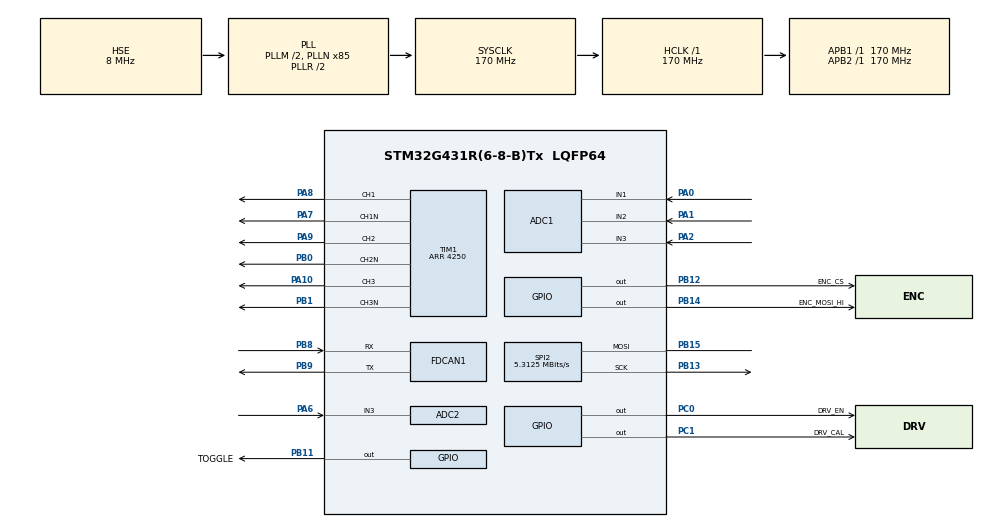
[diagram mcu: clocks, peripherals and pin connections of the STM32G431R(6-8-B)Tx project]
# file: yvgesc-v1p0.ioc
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ADC1.Channel-0\#ChannelRegularConversion=ADC_CHANNEL_VREFINT
ADC1.ClockPrescaler=ADC_CLOCK_SYNC_PCLK_DIV4
ADC1.EOCSelection=ADC_EOC_SEQ_CONV
ADC1.EnableInjectedConversion=ENABLE
ADC1.InjNumberOfConversion=4
ADC1.InjectedChannel-10\#ChannelInjectedConversion=ADC_CHANNEL_3
ADC1.InjectedChannel-11\#ChannelInjectedConversion=ADC_CHANNEL_VREFINT
ADC1.InjectedChannel-8\#ChannelInjectedConversion=ADC_CHANNEL_1
ADC1.InjectedChannel-9\#ChannelInjectedConversion=ADC_CHANNEL_2
ADC1.InjectedOffsetNumber-10\#ChannelInjectedConversion=ADC_OFFSET_NONE
ADC1.InjectedOffsetNumber-11\#ChannelInjectedConversion=ADC_OFFSET_NONE
ADC1.InjectedOffsetNumber-8\#ChannelInjectedConversion=ADC_OFFSET_NONE
ADC1.InjectedOffsetNumber-9\#ChannelInjectedConversion=ADC_OFFSET_NONE
ADC1.InjectedRank-10\#ChannelInjectedConversion=3
ADC1.InjectedRank-11\#ChannelInjectedConversion=4
ADC1.InjectedRank-8\#ChannelInjectedConversion=1
ADC1.InjectedRank-9\#ChannelInjectedConversion=2
ADC1.InjectedSamplingTime-10\#ChannelInjectedConversion=ADC_SAMPLETIME_24CYCLES_5
ADC1.InjectedSamplingTime-11\#ChannelInjectedConversion=ADC_SAMPLETIME_247CYCLES_5
ADC1.InjectedSamplingTime-8\#ChannelInjectedConversion=ADC_SAMPLETIME_24CYCLES_5
ADC1.InjectedSamplingTime-9\#ChannelInjectedConversion=ADC_SAMPLETIME_24CYCLES_5
ADC1.NbrOfConversion=1
ADC1.NbrOfConversionFlag=1
ADC1.OffsetNumber-0\#ChannelRegularConversion=ADC_OFFSET_NONE
ADC1.Overrun=ADC_OVR_DATA_OVERWRITTEN
ADC1.Rank-0\#ChannelRegularConversion=1
ADC1.Rank1_Channel=ADC_CHANNEL_1
ADC1.Rank2_Channel=ADC_CHANNEL_2
ADC1.Rank3_Channel=ADC_CHANNEL_3
ADC1.Rank4_Channel=ADC_CHANNEL_VREFINT
ADC1.SamplingTime-0\#ChannelRegularConversion=ADC_SAMPLETIME_24CYCLES_5
ADC1.master=1
ADC2.Channel-0\#ChannelRegularConversion=ADC_CHANNEL_3
ADC2.ClockPrescaler=ADC_CLOCK_SYNC_PCLK_DIV4
ADC2.NbrOfConversionFlag=1
ADC2.OffsetNumber-0\#ChannelRegularConversion=ADC_OFFSET_NONE
ADC2.Overrun=ADC_OVR_DATA_OVERWRITTEN
ADC2.Rank-0\#ChannelRegularConversion=1
ADC2.SamplingTime-0\#ChannelRegularConversion=ADC_SAMPLETIME_247CYCLES_5
FDCAN1.AutoRetransmission=ENABLE
FDCAN1.CalculateBaudRateNominal=500000
FDCAN1.CalculateTimeBitNominal=2000
FDCAN1.CalculateTimeQuantumNominal=125.0
FDCAN1.Mode=FDCAN_MODE_INTERNAL_LOOPBACK
FDCAN1.NominalPrescaler=1
FDCAN1.NominalSyncJumpWidth=2
FDCAN1.NominalTimeSeg1=13
FDCAN1.NominalTimeSeg2=2
FDCAN1.StdFiltersNbr=1
Mcu.Family=STM32G4
Mcu.Name=STM32G431R(6-8-B)Tx
Mcu.Package=LQFP64
NVIC.PriorityGroup=NVIC_PRIORITYGROUP_4
PA0.Mode=IN1-Single-Ended
PA0.Signal=ADC1_IN1
PA1.Mode=IN2-Single-Ended
PA1.Signal=ADC1_IN2
PA10.Signal=S_TIM1_CH3
PA13.Mode=Serial_Wire
PA13.Signal=SYS_JTMS-SWDIO
PA14.Mode=Serial_Wire
PA14.Signal=SYS_JTCK-SWCLK
PA2.Mode=IN3-Single-Ended
PA2.Signal=ADC1_IN3
PA6.Mode=IN3-Single-Ended
PA6.Signal=ADC2_IN3
PA7.Mode=PWM Generation1 CH1 CH1N
PA7.Signal=TIM1_CH1N
PA8.Signal=S_TIM1_CH1
PA9.Signal=S_TIM1_CH2
PB0.Mode=PWM Generation2 CH2 CH2N
PB0.Signal=TIM1_CH2N
PB1.Mode=PWM Generation3 CH3 CH3N
PB1.Signal=TIM1_CH3N
PB11.GPIO_Label=TOGGLE
PB11.Signal=GPIO_Output
PB12.GPIO_Label=ENC_CS
PB12.PinState=GPIO_PIN_SET
PB12.Signal=GPIO_Output
PB13.Mode=Simplex_Bidirectional_Master
PB13.Signal=SPI2_SCK
PB14.GPIO_Label=ENC_MOSI_HI
PB14.PinState=GPIO_PIN_SET
PB14.Signal=GPIO_Output
PB15.Mode=Simplex_Bidirectional_Master
PB15.Signal=SPI2_MOSI
PB8-BOOT0.Mode=FDCAN_Activate
PB8-BOOT0.Signal=FDCAN1_RX
PB9.Mode=FDCAN_Activate
PB9.Signal=FDCAN1_TX
PC0.GPIO_Label=DRV_EN
PC0.Signal=GPIO_Output
PC1.GPIO_Label=DRV_CAL
PC1.Signal=GPIO_Output
PF0-OSC_IN.Mode=HSE-External-Oscillator
PF0-OSC_IN.Signal=RCC_OSC_IN
PF1-OSC_OUT.Mode=HSE-External-Oscillator
PF1-OSC_OUT.Signal=RCC_OSC_OUT
ProjectManager.HeapSize=0x200
ProjectManager.StackSize=0x400
ProjectManager.TargetToolchain=CMake
RCC.ADC12Freq_Value=170000000
RCC.AHBFreq_Value=170000000
RCC.APB1Freq_Value=170000000
RCC.APB1TimFreq_Value=170000000
RCC.APB2Freq_Value=170000000
RCC.APB2TimFreq_Value=170000000
RCC.CortexFreq_Value=170000000
RCC.EXTERNAL_CLOCK_VALUE=12288000
RCC.FDCANCLockSelection=RCC_FDCANCLKSOURCE_HSE
RCC.HCLKFreq_Value=170000000
RCC.HSE_VALUE=8000000
RCC.HSI48_VALUE=48000000
RCC.HSI_VALUE=16000000
RCC.LSE_VALUE=32768
RCC.PLLM=RCC_PLLM_DIV2
RCC.PLLN=85
RCC.PLLSourceVirtual=RCC_PLLSOURCE_HSE
RCC.SYSCLKFreq_VALUE=170000000
RCC.SYSCLKSource=RCC_SYSCLKSOURCE_PLLCLK
RCC.USBFreq_Value=170000000
RCC.VCOOutputFreq_Value=340000000
SH.S_TIM1_CH1.0=TIM1_CH1,PWM Generation1 CH1 CH1N
SH.S_TIM1_CH2.0=TIM1_CH2,PWM Generation2 CH2 CH2N
SH.S_TIM1_CH3.0=TIM1_CH3,PWM Generation3 CH3 CH3N
SPI2.BaudRatePrescaler=SPI_BAUDRATEPRESCALER_32
SPI2.CLKPhase=SPI_PHASE_2EDGE
SPI2.CalculateBaudRate=5.3125 MBits/s
SPI2.DataSize=SPI_DATASIZE_16BIT
SPI2.Direction=SPI_DIRECTION_1LINE
SPI2.Mode=SPI_MODE_MASTER
SPI2.VirtualType=VM_MASTER
TIM1.AutoReloadPreload=TIM_AUTORELOAD_PRELOAD_ENABLE
TIM1.Channel-PWM\ Generation1\ CH1\ CH1N=TIM_CHANNEL_1
TIM1.Channel-PWM\ Generation2\ CH2\ CH2N=TIM_CHANNEL_2
TIM1.Channel-PWM\ Generation3\ CH3\ CH3N=TIM_CHANNEL_3
TIM1.CounterMode=TIM_COUNTERMODE_CENTERALIGNED1
TIM1.DeadTime=21
TIM1.OffStateIDLEMode=TIM_OSSI_ENABLE
TIM1.OffStateRunMode=TIM_OSSR_ENABLE
TIM1.PeriodNoDither=4250
VP_ADC1_Vref_Input.Mode=IN-Vrefint
VP_SYS_VS_DBSignals.Mode=DisableDeadBatterySignals
VP_TIM1_VS_ClockSourceINT.Mode=Internal
board=custom

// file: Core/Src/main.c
/* USER CODE BEGIN Header */
/**
  ******************************************************************************
  * @file           : main.c
  * @brief          : Main program body
  ******************************************************************************
  * @attention
  *
  * Copyright (c) 2026 STMicroelectronics.
  * All rights reserved.
  *
  * This software is licensed under terms that can be found in the LICENSE file
  * in the root directory of this software component.
  * If no LICENSE file comes with this software, it is provided AS-IS.
  *
  ******************************************************************************
  */
/* USER CODE END Header */
#include "main.h"

/* USER CODE BEGIN Includes */

#include <math.h>

/* USER CODE END Includes */

ADC_HandleTypeDef hadc1;
ADC_HandleTypeDef hadc2;

FDCAN_HandleTypeDef hfdcan1;

SPI_HandleTypeDef hspi2;

TIM_HandleTypeDef htim1;

/* USER CODE BEGIN PV */

volatile uint32_t rst = 0; //reset cue
volatile uint32_t pwm_ms = 5000;  //pwm timeout

volatile uint32_t pwm_run = 0;

volatile uint32_t ol_mode = 0;    /* 1 = open-loop vector drives the PWM */
volatile float ol_amp  = 0.0f;    /* vector amplitude in compare counts (0.4 A per count) */
volatile float ol_deg  = 0.0f;    /* electrical angle, degrees */
volatile float ol_rate = 0.0f;    /* degrees added per loop (~1 ms) */

//encoder
volatile uint16_t raw, ang, amin = 0xFFFF, amax = 0;
volatile uint32_t par_err = 0, ef_cnt = 0, reads = 0;
volatile uint32_t drv_on = 1;   /* 1 = DRV awake, 0 = asleep */

//adc
volatile uint32_t nf_adc;
volatile uint32_t adc_st;
volatile uint32_t vref_adc, vref_st, vdda_mv;

//sense outputs
volatile uint16_t so[3], so_min[3] = {4095,4095,4095}, so_max[3] = {0,0,0};
volatile uint16_t vr_min = 4095, vr_max = 0;
volatile uint32_t cal_on = 0;      /* 1 = DRV_CAL on */

//CAN
FDCAN_TxHeaderTypeDef txh;
FDCAN_RxHeaderTypeDef rxh;
uint8_t txd[8], rxd[8];
volatile uint32_t can_tx = 0, can_rx = 0, can_txerr = 0, can_rxid = 0;
volatile uint32_t can_tec = 0, can_rec = 0, can_busoff = 0;

//PWM
volatile uint32_t pwm_on = 0;              /* 1 = enable */
volatile uint32_t duty[3] = {0, 0, 0};     /* percent A,B,C */

volatile float ol_v = 0.0f;        /* vector amplitude in volts; ~0.1 V ≈ 1 A */

/* USER CODE END PV */

void SystemClock_Config(void);
static void MX_GPIO_Init(void);
static void MX_SPI2_Init(void);
static void MX_ADC2_Init(void);
static void MX_ADC1_Init(void);
static void MX_FDCAN1_Init(void);
static void MX_TIM1_Init(void);

/* USER CODE BEGIN 0 */

static uint16_t enc_frame(void)
{
    uint16_t rx = 0;
    HAL_GPIO_WritePin(ENC_CS_GPIO_Port, ENC_CS_Pin, GPIO_PIN_RESET);
    HAL_SPI_Receive(&hspi2, (uint8_t *)&rx, 1, 10);   /* receive only, never transmit */
    HAL_GPIO_WritePin(ENC_CS_GPIO_Port, ENC_CS_Pin, GPIO_PIN_SET);
    return rx;
}

/* USER CODE END 0 */

int main(void)
{

  /* MCU Configuration--------------------------------------------------------*/

  /* Reset of all peripherals, Initializes the Flash interface and the Systick. */
  HAL_Init();

  /* Configure the system clock */
  SystemClock_Config();

  /* Initialize all configured peripherals */
  MX_GPIO_Init();
  MX_SPI2_Init();
  MX_ADC2_Init();
  MX_ADC1_Init();
  MX_FDCAN1_Init();
  MX_TIM1_Init();
  /* USER CODE BEGIN 2 */

  HAL_Delay(10);                                              /* settle */
  HAL_ADCEx_Calibration_Start(&hadc2, ADC_SINGLE_ENDED);
  HAL_ADCEx_Calibration_Start(&hadc1, ADC_SINGLE_ENDED);

  HAL_FDCAN_ConfigGlobalFilter(&hfdcan1, FDCAN_ACCEPT_IN_RX_FIFO0,
                               FDCAN_REJECT, FDCAN_FILTER_REMOTE, FDCAN_FILTER_REMOTE);
  HAL_FDCAN_Start(&hfdcan1);

  txh.Identifier          = 0x123;
  txh.IdType              = FDCAN_STANDARD_ID;
  txh.TxFrameType         = FDCAN_DATA_FRAME;
  txh.DataLength          = FDCAN_DLC_BYTES_8;
  txh.ErrorStateIndicator = FDCAN_ESI_ACTIVE;
  txh.BitRateSwitch       = FDCAN_BRS_OFF;
  txh.FDFormat            = FDCAN_CLASSIC_CAN;
  txh.TxEventFifoControl  = FDCAN_NO_TX_EVENTS;
  txh.MessageMarker       = 0;

  __HAL_DBGMCU_FREEZE_TIM1();                /* stop TIM1 when the debugger pauses */
  HAL_TIM_PWM_Start(&htim1, TIM_CHANNEL_1);  HAL_TIMEx_PWMN_Start(&htim1, TIM_CHANNEL_1);
  HAL_TIM_PWM_Start(&htim1, TIM_CHANNEL_2);  HAL_TIMEx_PWMN_Start(&htim1, TIM_CHANNEL_2);
  HAL_TIM_PWM_Start(&htim1, TIM_CHANNEL_3);  HAL_TIMEx_PWMN_Start(&htim1, TIM_CHANNEL_3);
  __HAL_TIM_MOE_DISABLE_UNCONDITIONALLY(&htim1);

  //HAL_GPIO_WritePin(DRV_EN_GPIO_Port, DRV_EN_Pin, GPIO_PIN_SET);
  HAL_Delay(2);
  /* USER CODE END 2 */

  /* Infinite loop */
  while (1)
    {

    /* USER CODE BEGIN 3 */
      if (rst) {
          rst = 0;
          for (int i = 0; i < 3; i++) { so_min[i] = 4095; so_max[i] = 0; }
          amin = 0xFFFF; amax = 0;
          vr_min = 4095; vr_max = 0;
      }
      /* --- DRV enable, switchable from the debugger --- */
      HAL_GPIO_WritePin(DRV_EN_GPIO_Port, DRV_EN_Pin,
                        drv_on ? GPIO_PIN_SET : GPIO_PIN_RESET);
      HAL_GPIO_WritePin(DRV_CAL_GPIO_Port, DRV_CAL_Pin,
                        cal_on ? GPIO_PIN_SET : GPIO_PIN_RESET);
      HAL_ADCEx_InjectedStart(&hadc1);
      if (HAL_ADCEx_InjectedPollForConversion(&hadc1, 2) == HAL_OK) {
          so[0]    = HAL_ADCEx_InjectedGetValue(&hadc1, ADC_INJECTED_RANK_1);
          so[1]    = HAL_ADCEx_InjectedGetValue(&hadc1, ADC_INJECTED_RANK_2);
          so[2]    = HAL_ADCEx_InjectedGetValue(&hadc1, ADC_INJECTED_RANK_3);
          vref_adc = HAL_ADCEx_InjectedGetValue(&hadc1, ADC_INJECTED_RANK_4);
          if (vref_adc < vr_min) vr_min = vref_adc;
          if (vref_adc > vr_max) vr_max = vref_adc;
          for (int i = 0; i < 3; i++) {
              if (so[i] < so_min[i]) so_min[i] = so[i];
              if (so[i] > so_max[i]) so_max[i] = so[i];
          }
          if (vref_adc > 0)
              vdda_mv = __HAL_ADC_CALC_VREFANALOG_VOLTAGE(vref_adc, ADC_RESOLUTION_12B);
      }
      /* --- nFAULT via ADC2 channel 3 (PA6) --- */
      HAL_ADC_Start(&hadc2);
      adc_st = HAL_ADC_PollForConversion(&hadc2, 2);
      if (adc_st == HAL_OK) nf_adc = HAL_ADC_GetValue(&hadc2);

      /* --- AS5047P angle read (SPI2 half-duplex receive) --- */
      raw = enc_frame();
      reads++;
      if (__builtin_parity(raw))      par_err++;   /* even parity: should be 0 */
      else if (raw & 0x4000)          ef_cnt++;    /* encoder error flag */
      else {
          ang = raw & 0x3FFF;
          if (ang < amin) amin = ang;
          if (ang > amax) amax = ang;
      }

      /* FDCAN 100 ms/frame */
      static uint32_t tc = 0;
      if (HAL_GetTick() - tc >= 100) {
          tc = HAL_GetTick();
          txd[0] = (uint8_t)can_tx;            /* counter, so you can see frames change */
          if (HAL_FDCAN_AddMessageToTxFifoQ(&hfdcan1, &txh, txd) == HAL_OK) can_tx++;
          else can_txerr++;
      }
      /* read */
      while (HAL_FDCAN_GetRxFifoFillLevel(&hfdcan1, FDCAN_RX_FIFO0) > 0) {
          if (HAL_FDCAN_GetRxMessage(&hfdcan1, FDCAN_RX_FIFO0, &rxh, rxd) == HAL_OK) {
              can_rx++;
              can_rxid = rxh.Identifier;
          }
      }
      /* bus health */
      FDCAN_ErrorCountersTypeDef ec;
      FDCAN_ProtocolStatusTypeDef ps;
      HAL_FDCAN_GetErrorCounters(&hfdcan1, &ec);
      HAL_FDCAN_GetProtocolStatus(&hfdcan1, &ps);
      can_tec = ec.TxErrorCnt;  can_rec = ec.RxErrorCnt;  can_busoff = ps.BusOff;

      /* PWM */

      if (pwm_ms > 10000) pwm_ms = 10000;   /*10s limit*/

      uint32_t arr = __HAL_TIM_GET_AUTORELOAD(&htim1);

      if (ol_mode) {
          if (ol_v > 0.3f) ol_v = 0.3f;                    /* hard cap: ~3 A */
          float k = arr / 12.0f;
          if (pwm_run) ol_deg += ol_rate;
          if (ol_deg >= 360.0f) ol_deg -= 360.0f;
          if (ol_deg < 0.0f)    ol_deg += 360.0f;
          float th = ol_deg * 0.0174533f;
          float b  = arr / 2.0f;
          __HAL_TIM_SET_COMPARE(&htim1, TIM_CHANNEL_1, (uint32_t)(b + ol_v * k * cosf(th)));
          __HAL_TIM_SET_COMPARE(&htim1, TIM_CHANNEL_2, (uint32_t)(b + ol_v * k * cosf(th - 2.0944f)));
          __HAL_TIM_SET_COMPARE(&htim1, TIM_CHANNEL_3, (uint32_t)(b + ol_v * k * cosf(th + 2.0944f)));
      } else {
          for (int i = 0; i < 3; i++) if (duty[i] > 100) duty[i] = 100;
          __HAL_TIM_SET_COMPARE(&htim1, TIM_CHANNEL_1, duty[0] * arr / 100);
          __HAL_TIM_SET_COMPARE(&htim1, TIM_CHANNEL_2, duty[1] * arr / 100);
          __HAL_TIM_SET_COMPARE(&htim1, TIM_CHANNEL_3, duty[2] * arr / 100);
      }

      static uint32_t t_on = 0;
      if (pwm_on) { pwm_on = 0; pwm_run = 1; t_on = HAL_GetTick(); }  /* request a run */
      if (pwm_run && (HAL_GetTick() - t_on >= pwm_ms)) pwm_run = 0;     /* time's up */

      if (drv_on && pwm_run) __HAL_TIM_MOE_ENABLE(&htim1);
      else                   __HAL_TIM_MOE_DISABLE_UNCONDITIONALLY(&htim1);

      /* --- PB11 heartbeat --- */
      static uint32_t t = 0;
      if (HAL_GetTick() - t >= 500) {
          t = HAL_GetTick();
          HAL_GPIO_TogglePin(TOGGLE_GPIO_Port, TOGGLE_Pin);
      }

      HAL_Delay(1);
    }
  /* USER CODE END 3 */
}
void SystemClock_Config(void)
{
  RCC_OscInitTypeDef RCC_OscInitStruct = {0};
  RCC_ClkInitTypeDef RCC_ClkInitStruct = {0};

  /** Configure the main internal regulator output voltage
  */
  HAL_PWREx_ControlVoltageScaling(PWR_REGULATOR_VOLTAGE_SCALE1_BOOST);

  /** Initializes the RCC Oscillators according to the specified parameters
  * in the RCC_OscInitTypeDef structure.
  */
  RCC_OscInitStruct.OscillatorType = RCC_OSCILLATORTYPE_HSE;
  RCC_OscInitStruct.HSEState = RCC_HSE_ON;
  RCC_OscInitStruct.PLL.PLLState = RCC_PLL_ON;
  RCC_OscInitStruct.PLL.PLLSource = RCC_PLLSOURCE_HSE;
  RCC_OscInitStruct.PLL.PLLM = RCC_PLLM_DIV2;
  RCC_OscInitStruct.PLL.PLLN = 85;
  RCC_OscInitStruct.PLL.PLLP = RCC_PLLP_DIV2;
  RCC_OscInitStruct.PLL.PLLQ = RCC_PLLQ_DIV2;
  RCC_OscInitStruct.PLL.PLLR = RCC_PLLR_DIV2;
  if (HAL_RCC_OscConfig(&RCC_OscInitStruct) != HAL_OK)
  {
    Error_Handler();
  }

  /** Initializes the CPU, AHB and APB buses clocks
  */
  RCC_ClkInitStruct.ClockType = RCC_CLOCKTYPE_HCLK|RCC_CLOCKTYPE_SYSCLK
                              |RCC_CLOCKTYPE_PCLK1|RCC_CLOCKTYPE_PCLK2;
  RCC_ClkInitStruct.SYSCLKSource = RCC_SYSCLKSOURCE_PLLCLK;
  RCC_ClkInitStruct.AHBCLKDivider = RCC_SYSCLK_DIV1;
  RCC_ClkInitStruct.APB1CLKDivider = RCC_HCLK_DIV1;
  RCC_ClkInitStruct.APB2CLKDivider = RCC_HCLK_DIV1;

  if (HAL_RCC_ClockConfig(&RCC_ClkInitStruct, FLASH_LATENCY_4) != HAL_OK)
  {
    Error_Handler();
  }
}

static void MX_ADC1_Init(void)
{

  ADC_MultiModeTypeDef multimode = {0};
  ADC_ChannelConfTypeDef sConfig = {0};
  ADC_InjectionConfTypeDef sConfigInjected = {0};

  /** Common config
  */
  hadc1.Instance = ADC1;
  hadc1.Init.ClockPrescaler = ADC_CLOCK_SYNC_PCLK_DIV4;
  hadc1.Init.Resolution = ADC_RESOLUTION_12B;
  hadc1.Init.DataAlign = ADC_DATAALIGN_RIGHT;
  hadc1.Init.GainCompensation = 0;
  hadc1.Init.ScanConvMode = ADC_SCAN_ENABLE;
  hadc1.Init.EOCSelection = ADC_EOC_SEQ_CONV;
  hadc1.Init.LowPowerAutoWait = DISABLE;
  hadc1.Init.ContinuousConvMode = DISABLE;
  hadc1.Init.NbrOfConversion = 1;
  hadc1.Init.DiscontinuousConvMode = DISABLE;
  hadc1.Init.ExternalTrigConv = ADC_SOFTWARE_START;
  hadc1.Init.ExternalTrigConvEdge = ADC_EXTERNALTRIGCONVEDGE_NONE;
  hadc1.Init.DMAContinuousRequests = DISABLE;
  hadc1.Init.Overrun = ADC_OVR_DATA_OVERWRITTEN;
  hadc1.Init.OversamplingMode = DISABLE;
  if (HAL_ADC_Init(&hadc1) != HAL_OK)
  {
    Error_Handler();
  }

  /** Configure the ADC multi-mode
  */
  multimode.Mode = ADC_MODE_INDEPENDENT;
  if (HAL_ADCEx_MultiModeConfigChannel(&hadc1, &multimode) != HAL_OK)
  {
    Error_Handler();
  }

  /** Configure Regular Channel
  */
  sConfig.Channel = ADC_CHANNEL_VREFINT;
  sConfig.Rank = ADC_REGULAR_RANK_1;
  sConfig.SamplingTime = ADC_SAMPLETIME_24CYCLES_5;
  sConfig.SingleDiff = ADC_SINGLE_ENDED;
  sConfig.OffsetNumber = ADC_OFFSET_NONE;
  sConfig.Offset = 0;
  if (HAL_ADC_ConfigChannel(&hadc1, &sConfig) != HAL_OK)
  {
    Error_Handler();
  }

  /** Configure Injected Channel
  */
  sConfigInjected.InjectedChannel = ADC_CHANNEL_1;
  sConfigInjected.InjectedRank = ADC_INJECTED_RANK_1;
  sConfigInjected.InjectedSamplingTime = ADC_SAMPLETIME_24CYCLES_5;
  sConfigInjected.InjectedSingleDiff = ADC_SINGLE_ENDED;
  sConfigInjected.InjectedOffsetNumber = ADC_OFFSET_NONE;
  sConfigInjected.InjectedOffset = 0;
  sConfigInjected.InjectedNbrOfConversion = 4;
  sConfigInjected.InjectedDiscontinuousConvMode = DISABLE;
  sConfigInjected.AutoInjectedConv = DISABLE;
  sConfigInjected.QueueInjectedContext = DISABLE;
  sConfigInjected.ExternalTrigInjecConv = ADC_INJECTED_SOFTWARE_START;
  sConfigInjected.ExternalTrigInjecConvEdge = ADC_EXTERNALTRIGINJECCONV_EDGE_NONE;
  sConfigInjected.InjecOversamplingMode = DISABLE;
  if (HAL_ADCEx_InjectedConfigChannel(&hadc1, &sConfigInjected) != HAL_OK)
  {
    Error_Handler();
  }

  /** Configure Injected Channel
  */
  sConfigInjected.InjectedChannel = ADC_CHANNEL_2;
  sConfigInjected.InjectedRank = ADC_INJECTED_RANK_2;
  if (HAL_ADCEx_InjectedConfigChannel(&hadc1, &sConfigInjected) != HAL_OK)
  {
    Error_Handler();
  }

  /** Configure Injected Channel
  */
  sConfigInjected.InjectedChannel = ADC_CHANNEL_3;
  sConfigInjected.InjectedRank = ADC_INJECTED_RANK_3;
  if (HAL_ADCEx_InjectedConfigChannel(&hadc1, &sConfigInjected) != HAL_OK)
  {
    Error_Handler();
  }

  /** Configure Injected Channel
  */
  sConfigInjected.InjectedChannel = ADC_CHANNEL_VREFINT;
  sConfigInjected.InjectedRank = ADC_INJECTED_RANK_4;
  sConfigInjected.InjectedSamplingTime = ADC_SAMPLETIME_247CYCLES_5;
  if (HAL_ADCEx_InjectedConfigChannel(&hadc1, &sConfigInjected) != HAL_OK)
  {
    Error_Handler();
  }

}

static void MX_ADC2_Init(void)
{

  ADC_ChannelConfTypeDef sConfig = {0};

  /** Common config
  */
  hadc2.Instance = ADC2;
  hadc2.Init.ClockPrescaler = ADC_CLOCK_SYNC_PCLK_DIV4;
  hadc2.Init.Resolution = ADC_RESOLUTION_12B;
  hadc2.Init.DataAlign = ADC_DATAALIGN_RIGHT;
  hadc2.Init.GainCompensation = 0;
  hadc2.Init.ScanConvMode = ADC_SCAN_DISABLE;
  hadc2.Init.EOCSelection = ADC_EOC_SINGLE_CONV;
  hadc2.Init.LowPowerAutoWait = DISABLE;
  hadc2.Init.ContinuousConvMode = DISABLE;
  hadc2.Init.NbrOfConversion = 1;
  hadc2.Init.DiscontinuousConvMode = DISABLE;
  hadc2.Init.ExternalTrigConv = ADC_SOFTWARE_START;
  hadc2.Init.ExternalTrigConvEdge = ADC_EXTERNALTRIGCONVEDGE_NONE;
  hadc2.Init.DMAContinuousRequests = DISABLE;
  hadc2.Init.Overrun = ADC_OVR_DATA_OVERWRITTEN;
  hadc2.Init.OversamplingMode = DISABLE;
  if (HAL_ADC_Init(&hadc2) != HAL_OK)
  {
    Error_Handler();
  }

  /** Configure Regular Channel
  */
  sConfig.Channel = ADC_CHANNEL_3;
  sConfig.Rank = ADC_REGULAR_RANK_1;
  sConfig.SamplingTime = ADC_SAMPLETIME_247CYCLES_5;
  sConfig.SingleDiff = ADC_SINGLE_ENDED;
  sConfig.OffsetNumber = ADC_OFFSET_NONE;
  sConfig.Offset = 0;
  if (HAL_ADC_ConfigChannel(&hadc2, &sConfig) != HAL_OK)
  {
    Error_Handler();
  }

}

static void MX_FDCAN1_Init(void)
{

  hfdcan1.Instance = FDCAN1;
  hfdcan1.Init.ClockDivider = FDCAN_CLOCK_DIV1;
  hfdcan1.Init.FrameFormat = FDCAN_FRAME_CLASSIC;
  hfdcan1.Init.Mode = FDCAN_MODE_INTERNAL_LOOPBACK;
  hfdcan1.Init.AutoRetransmission = ENABLE;
  hfdcan1.Init.TransmitPause = DISABLE;
  hfdcan1.Init.ProtocolException = DISABLE;
  hfdcan1.Init.NominalPrescaler = 1;
  hfdcan1.Init.NominalSyncJumpWidth = 2;
  hfdcan1.Init.NominalTimeSeg1 = 13;
  hfdcan1.Init.NominalTimeSeg2 = 2;
  hfdcan1.Init.DataPrescaler = 1;
  hfdcan1.Init.DataSyncJumpWidth = 1;
  hfdcan1.Init.DataTimeSeg1 = 1;
  hfdcan1.Init.DataTimeSeg2 = 1;
  hfdcan1.Init.StdFiltersNbr = 1;
  hfdcan1.Init.ExtFiltersNbr = 0;
  hfdcan1.Init.TxFifoQueueMode = FDCAN_TX_FIFO_OPERATION;
  if (HAL_FDCAN_Init(&hfdcan1) != HAL_OK)
  {
    Error_Handler();
  }

}

static void MX_SPI2_Init(void)
{

  /* SPI2 parameter configuration*/
  hspi2.Instance = SPI2;
  hspi2.Init.Mode = SPI_MODE_MASTER;
  hspi2.Init.Direction = SPI_DIRECTION_1LINE;
  hspi2.Init.DataSize = SPI_DATASIZE_16BIT;
  hspi2.Init.CLKPolarity = SPI_POLARITY_LOW;
  hspi2.Init.CLKPhase = SPI_PHASE_2EDGE;
  hspi2.Init.NSS = SPI_NSS_SOFT;
  hspi2.Init.BaudRatePrescaler = SPI_BAUDRATEPRESCALER_32;
  hspi2.Init.FirstBit = SPI_FIRSTBIT_MSB;
  hspi2.Init.TIMode = SPI_TIMODE_DISABLE;
  hspi2.Init.CRCCalculation = SPI_CRCCALCULATION_DISABLE;
  hspi2.Init.CRCPolynomial = 7;
  hspi2.Init.CRCLength = SPI_CRC_LENGTH_DATASIZE;
  hspi2.Init.NSSPMode = SPI_NSS_PULSE_DISABLE;
  if (HAL_SPI_Init(&hspi2) != HAL_OK)
  {
    Error_Handler();
  }

}

static void MX_TIM1_Init(void)
{

  TIM_ClockConfigTypeDef sClockSourceConfig = {0};
  TIM_MasterConfigTypeDef sMasterConfig = {0};
  TIM_OC_InitTypeDef sConfigOC = {0};
  TIM_BreakDeadTimeConfigTypeDef sBreakDeadTimeConfig = {0};

  htim1.Instance = TIM1;
  htim1.Init.Prescaler = 0;
  htim1.Init.CounterMode = TIM_COUNTERMODE_CENTERALIGNED1;
  htim1.Init.Period = 4250;
  htim1.Init.ClockDivision = TIM_CLOCKDIVISION_DIV1;
  htim1.Init.RepetitionCounter = 0;
  htim1.Init.AutoReloadPreload = TIM_AUTORELOAD_PRELOAD_ENABLE;
  if (HAL_TIM_Base_Init(&htim1) != HAL_OK)
  {
    Error_Handler();
  }
  sClockSourceConfig.ClockSource = TIM_CLOCKSOURCE_INTERNAL;
  if (HAL_TIM_ConfigClockSource(&htim1, &sClockSourceConfig) != HAL_OK)
  {
    Error_Handler();
  }
  if (HAL_TIM_PWM_Init(&htim1) != HAL_OK)
  {
    Error_Handler();
  }
  sMasterConfig.MasterOutputTrigger = TIM_TRGO_RESET;
  sMasterConfig.MasterOutputTrigger2 = TIM_TRGO2_RESET;
  sMasterConfig.MasterSlaveMode = TIM_MASTERSLAVEMODE_DISABLE;
  if (HAL_TIMEx_MasterConfigSynchronization(&htim1, &sMasterConfig) != HAL_OK)
  {
    Error_Handler();
  }
  sConfigOC.OCMode = TIM_OCMODE_PWM1;
  sConfigOC.Pulse = 0;
  sConfigOC.OCPolarity = TIM_OCPOLARITY_HIGH;
  sConfigOC.OCNPolarity = TIM_OCNPOLARITY_HIGH;
  sConfigOC.OCFastMode = TIM_OCFAST_DISABLE;
  sConfigOC.OCIdleState = TIM_OCIDLESTATE_RESET;
  sConfigOC.OCNIdleState = TIM_OCNIDLESTATE_RESET;
  if (HAL_TIM_PWM_ConfigChannel(&htim1, &sConfigOC, TIM_CHANNEL_1) != HAL_OK)
  {
    Error_Handler();
  }
  if (HAL_TIM_PWM_ConfigChannel(&htim1, &sConfigOC, TIM_CHANNEL_2) != HAL_OK)
  {
    Error_Handler();
  }
  if (HAL_TIM_PWM_ConfigChannel(&htim1, &sConfigOC, TIM_CHANNEL_3) != HAL_OK)
  {
    Error_Handler();
  }
  sBreakDeadTimeConfig.OffStateRunMode = TIM_OSSR_ENABLE;
  sBreakDeadTimeConfig.OffStateIDLEMode = TIM_OSSI_ENABLE;
  sBreakDeadTimeConfig.LockLevel = TIM_LOCKLEVEL_OFF;
  sBreakDeadTimeConfig.DeadTime = 21;
  sBreakDeadTimeConfig.BreakState = TIM_BREAK_DISABLE;
  sBreakDeadTimeConfig.BreakPolarity = TIM_BREAKPOLARITY_HIGH;
  sBreakDeadTimeConfig.BreakFilter = 0;
  sBreakDeadTimeConfig.BreakAFMode = TIM_BREAK_AFMODE_INPUT;
  sBreakDeadTimeConfig.Break2State = TIM_BREAK2_DISABLE;
  sBreakDeadTimeConfig.Break2Polarity = TIM_BREAK2POLARITY_HIGH;
  sBreakDeadTimeConfig.Break2Filter = 0;
  sBreakDeadTimeConfig.Break2AFMode = TIM_BREAK_AFMODE_INPUT;
  sBreakDeadTimeConfig.AutomaticOutput = TIM_AUTOMATICOUTPUT_DISABLE;
  if (HAL_TIMEx_ConfigBreakDeadTime(&htim1, &sBreakDeadTimeConfig) != HAL_OK)
  {
    Error_Handler();
  }
  HAL_TIM_MspPostInit(&htim1);

}

static void MX_GPIO_Init(void)
{
  GPIO_InitTypeDef GPIO_InitStruct = {0};

  /* GPIO Ports Clock Enable */
  __HAL_RCC_GPIOF_CLK_ENABLE();
  __HAL_RCC_GPIOC_CLK_ENABLE();
  __HAL_RCC_GPIOA_CLK_ENABLE();
  __HAL_RCC_GPIOB_CLK_ENABLE();

  /*Configure GPIO pin Output Level */
  HAL_GPIO_WritePin(GPIOC, DRV_EN_Pin|DRV_CAL_Pin, GPIO_PIN_RESET);

  /*Configure GPIO pin Output Level */
  HAL_GPIO_WritePin(TOGGLE_GPIO_Port, TOGGLE_Pin, GPIO_PIN_RESET);

  /*Configure GPIO pin Output Level */
  HAL_GPIO_WritePin(GPIOB, ENC_CS_Pin|ENC_MOSI_HI_Pin, GPIO_PIN_SET);

  /*Configure GPIO pins : DRV_EN_Pin DRV_CAL_Pin */
  GPIO_InitStruct.Pin = DRV_EN_Pin|DRV_CAL_Pin;
  GPIO_InitStruct.Mode = GPIO_MODE_OUTPUT_PP;
  GPIO_InitStruct.Pull = GPIO_NOPULL;
  GPIO_InitStruct.Speed = GPIO_SPEED_FREQ_LOW;
  HAL_GPIO_Init(GPIOC, &GPIO_InitStruct);

  /*Configure GPIO pins : TOGGLE_Pin ENC_CS_Pin ENC_MOSI_HI_Pin */
  GPIO_InitStruct.Pin = TOGGLE_Pin|ENC_CS_Pin|ENC_MOSI_HI_Pin;
  GPIO_InitStruct.Mode = GPIO_MODE_OUTPUT_PP;
  GPIO_InitStruct.Pull = GPIO_NOPULL;
  GPIO_InitStruct.Speed = GPIO_SPEED_FREQ_LOW;
  HAL_GPIO_Init(GPIOB, &GPIO_InitStruct);

}

void Error_Handler(void)
{
  __disable_irq();
  while (1)
  {
  }
}
